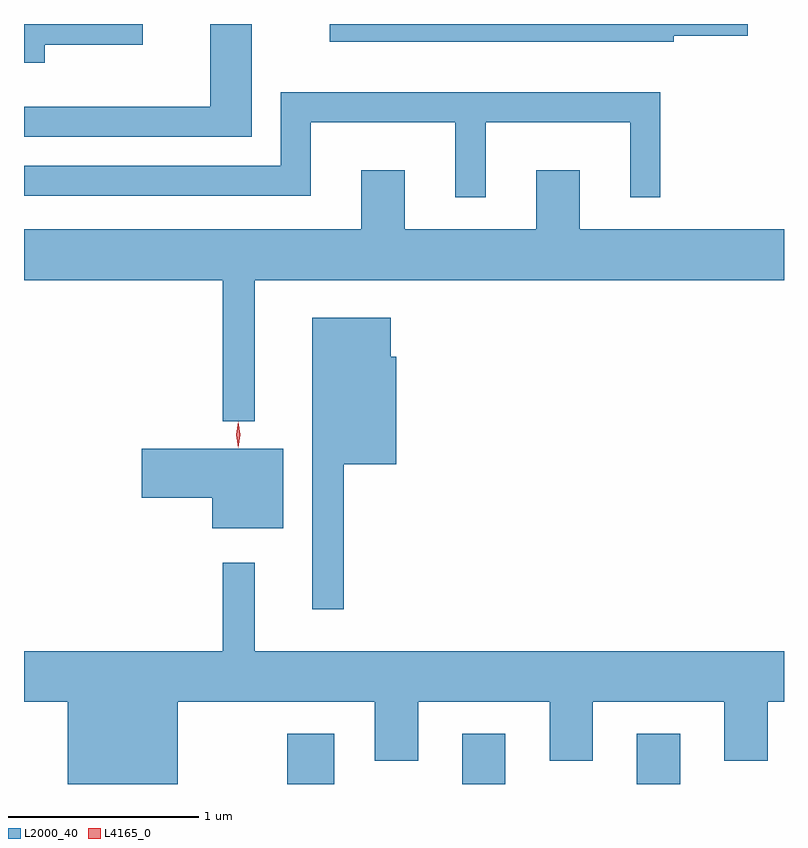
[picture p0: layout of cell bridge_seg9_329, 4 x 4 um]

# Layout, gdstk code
import gdstk
lib = gdstk.Library(unit=1e-6, precision=1e-09)
def R(c, l, rs):  # rectangles x0, y0, x1, y1
    for r in rs: c.add(gdstk.rectangle(r[:2], r[2:], *l))
def P(c, l, *ps):  # polygons
    for p in ps: c.add(gdstk.Polygon(p, *l))
L2000_40 = (2000, 40)
L4165_0 = (4165, 0)

bridge_seg9_329 = lib.new_cell('bridge_seg9_329')
R(bridge_seg9_329, L2000_40, [(758.481,2022.464,758.729,2022.729), (759.401,2022.464,759.629,2022.729), (760.321,2022.464,760.549,2022.729)])
P(bridge_seg9_329, L2000_40, [(758.294,2026.464),(758.076,2026.464),(758.076,2026.029),(757.095,2026.029),(757.095,2025.871),(758.294,2025.871)],
  [(760.514,2026.401),(760.904,2026.401),(760.904,2026.464),(758.703,2026.464),(758.703,2026.371),(760.514,2026.371)],
  [(757.204,2026.356),(757.719,2026.356),(757.719,2026.464),(757.095,2026.464),(757.095,2026.261),(757.204,2026.261)],
  [(759.524,2025.946),(760.286,2025.946),(760.286,2025.553),(760.444,2025.553),(760.444,2026.104),(758.446,2026.104),(758.446,2025.719),(757.095,2025.719),(757.095,2025.561),(758.604,2025.561),(758.604,2025.946),(759.366,2025.946),(759.366,2025.553),(759.524,2025.553)],
  [(758.309,2025.116),(761.095,2025.116),(761.095,2025.384),(760.019,2025.384),(760.019,2025.694),(759.791,2025.694),(759.791,2025.384),(759.099,2025.384),(759.099,2025.694),(758.871,2025.694),(758.871,2025.384),(757.095,2025.384),(757.095,2025.116),(758.141,2025.116),(758.141,2024.373),(758.309,2024.373)],
  [(758.779,2024.146),(759.054,2024.146),(759.054,2024.714),(759.024,2024.714),(759.024,2024.919),(758.611,2024.919),(758.611,2023.383),(758.779,2023.383)],
  [(758.459,2024.229),(757.716,2024.229),(757.716,2023.971),(758.086,2023.971),(758.086,2023.811),(758.459,2023.811)],
  [(757.095,2022.896),(757.326,2022.896),(757.326,2022.464),(757.904,2022.464),(757.904,2022.896),(758.941,2022.896),(758.941,2022.586),(759.169,2022.586),(759.169,2022.896),(759.861,2022.896),(759.861,2022.586),(760.089,2022.586),(760.089,2022.896),(760.781,2022.896),(760.781,2022.586),(761.009,2022.586),(761.009,2022.896),(761.095,2022.896),(761.095,2023.164),(758.309,2023.164),(758.309,2023.628),(758.141,2023.628),(758.141,2023.164),(757.095,2023.164)])
P(bridge_seg9_329, L4165_0, [(758.222,2024.24),(758.222,2024.24),(758.212,2024.303),(758.222,2024.366),(758.222,2024.367),(758.223,2024.366),(758.232,2024.303),(758.223,2024.24)],
  [(758.222,2024.234),(758.222,2024.234),(758.212,2024.302),(758.222,2024.37),(758.222,2024.37),(758.223,2024.37),(758.232,2024.302),(758.223,2024.234)])

lib.write_gds('bridge_seg9_329.gds')
